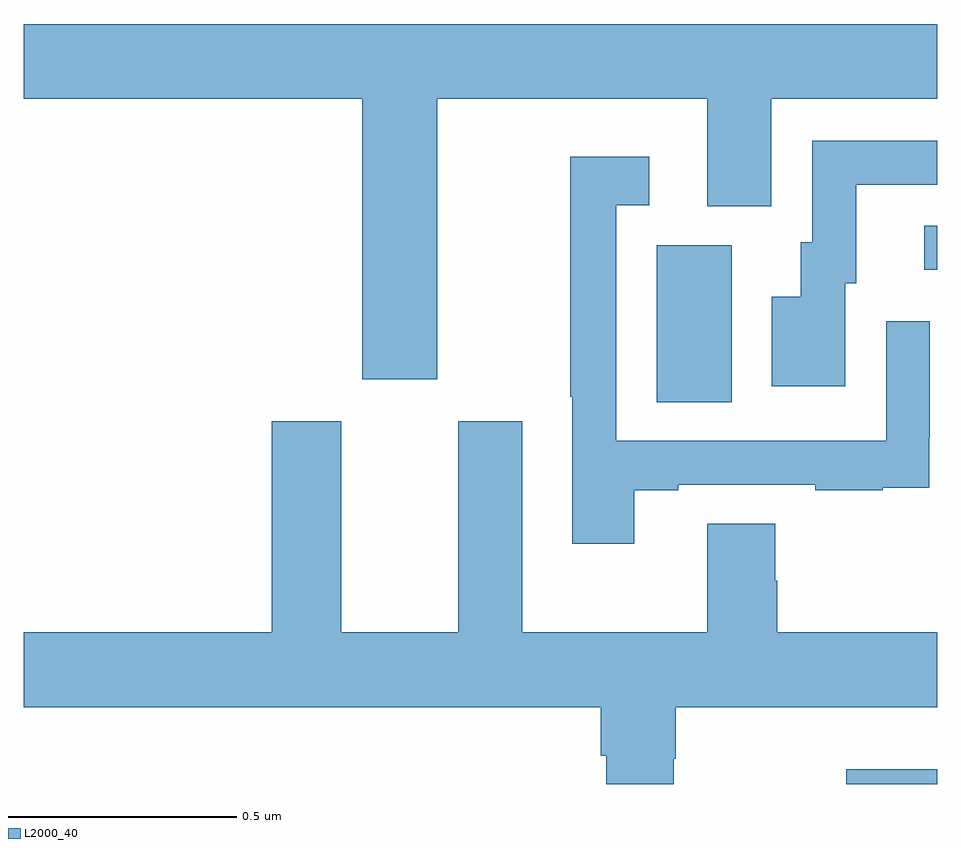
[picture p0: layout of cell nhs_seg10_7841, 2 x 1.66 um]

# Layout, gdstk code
import gdstk
lib = gdstk.Library(unit=1e-6, precision=1e-09)
def R(c, l, rs):  # rectangles x0, y0, x1, y1
    for r in rs: c.add(gdstk.rectangle(r[:2], r[2:], *l))
def P(c, l, *ps):  # polygons
    for p in ps: c.add(gdstk.Polygon(p, *l))
L2000_40 = (2000, 40)

nhs_seg10_7841 = lib.new_cell('nhs_seg10_7841')
R(nhs_seg10_7841, L2000_40, [(210.801,1281.5,211,1281.532), (210.386,1282.336,210.55,1282.68), (210.972,1282.626,211,1282.722)])
P(nhs_seg10_7841, L2000_40, [(209.905,1283),(210.497,1283),(210.497,1282.765),(210.637,1282.765),(210.637,1283),(211,1283),(211,1283.164),(209,1283.164),(209,1283),(209.741,1283),(209.741,1282.386),(209.905,1282.386)],
  [(210.799,1282.596),(210.823,1282.596),(210.823,1282.812),(211,1282.812),(211,1282.908),(210.726,1282.908),(210.726,1282.686),(210.701,1282.686),(210.701,1282.567),(210.638,1282.567),(210.638,1282.371),(210.799,1282.371)],
  [(210.337,1282.143),(210.433,1282.143),(210.433,1282.155),(210.733,1282.155),(210.733,1282.143),(210.881,1282.143),(210.881,1282.149),(210.983,1282.149),(210.983,1282.258),(210.984,1282.258),(210.984,1282.513),(210.888,1282.513),(210.888,1282.251),(210.297,1282.251),(210.297,1282.767),(210.37,1282.767),(210.37,1282.873),(210.196,1282.873),(210.196,1282.348),(210.201,1282.348),(210.201,1282.026),(210.337,1282.026)],
  [(210.423,1281.555),(210.428,1281.555),(210.428,1281.668),(211,1281.668),(211,1281.832),(210.65,1281.832),(210.65,1281.945),(210.645,1281.945),(210.645,1282.07),(210.497,1282.07),(210.497,1281.832),(210.091,1281.832),(210.091,1282.294),(209.951,1282.294),(209.951,1281.832),(209.695,1281.832),(209.695,1282.294),(209.543,1282.294),(209.543,1281.832),(209,1281.832),(209,1281.668),(210.263,1281.668),(210.263,1281.562),(210.275,1281.562),(210.275,1281.5),(210.423,1281.5)])

lib.write_gds('nhs_seg10_7841.gds')
